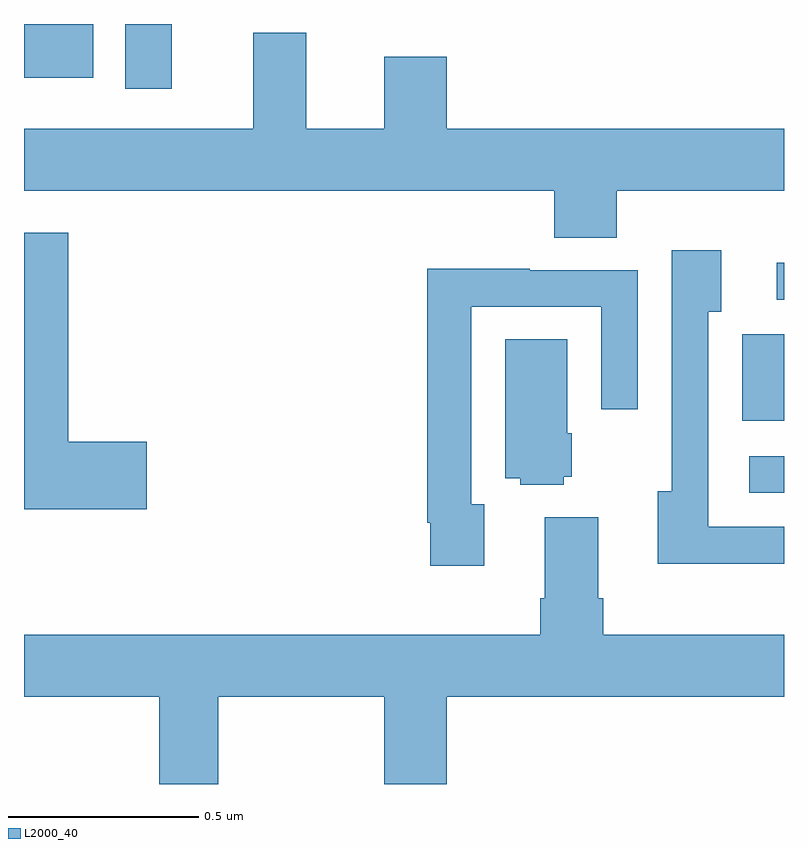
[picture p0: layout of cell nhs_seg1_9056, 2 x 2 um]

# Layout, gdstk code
import gdstk
lib = gdstk.Library(unit=1e-6, precision=1e-09)
def R(c, l, rs):  # rectangles x0, y0, x1, y1
    for r in rs: c.add(gdstk.rectangle(r[:2], r[2:], *l))
def P(c, l, *ps):  # polygons
    for p in ps: c.add(gdstk.Polygon(p, *l))
L2000_40 = (2000, 40)

nhs_seg1_9056 = lib.new_cell('nhs_seg1_9056')
R(nhs_seg1_9056, L2000_40, [(225.909,522.966,226,523.062), (225.89,523.155,226,523.383), (225.981,523.473,226,523.571), (224.267,524.028,224.389,524.199), (224,524.057,224.182,524.199)])
P(nhs_seg1_9056, L2000_40, [(225.56,523.76),(226,523.76),(226,523.924),(225.112,523.924),(225.112,524.113),(224.948,524.113),(224.948,523.924),(224.743,523.924),(224.743,524.176),(224.603,524.176),(224.603,523.924),(224,523.924),(224,523.76),(225.395,523.76),(225.395,523.636),(225.56,523.636)],
  [(224.323,523.1),(224.117,523.1),(224.117,523.65),(224,523.65),(224,522.922),(224.323,522.922)],
  [(226,522.876),(225.801,522.876),(225.801,523.442),(225.835,523.442),(225.835,523.603),(225.705,523.603),(225.705,522.97),(225.668,522.97),(225.668,522.779),(226,522.779)],
  [(225.211,522.935),(225.177,522.935),(225.177,523.455),(225.519,523.455),(225.519,523.185),(225.615,523.185),(225.615,523.551),(225.331,523.551),(225.331,523.555),(225.061,523.555),(225.061,522.886),(225.069,522.886),(225.069,522.774),(225.211,522.774)],
  [(225.42,523.008),(225.442,523.008),(225.442,523.122),(225.43,523.122),(225.43,523.37),(225.266,523.37),(225.266,523.004),(225.306,523.004),(225.306,522.986),(225.42,522.986)],
  [(224.511,522.428),(224.948,522.428),(224.948,522.199),(225.112,522.199),(225.112,522.428),(226,522.428),(226,522.592),(225.524,522.592),(225.524,522.688),(225.511,522.688),(225.511,522.901),(225.371,522.901),(225.371,522.688),(225.359,522.688),(225.359,522.592),(224,522.592),(224,522.428),(224.356,522.428),(224.356,522.199),(224.511,522.199)])

lib.write_gds('nhs_seg1_9056.gds')
